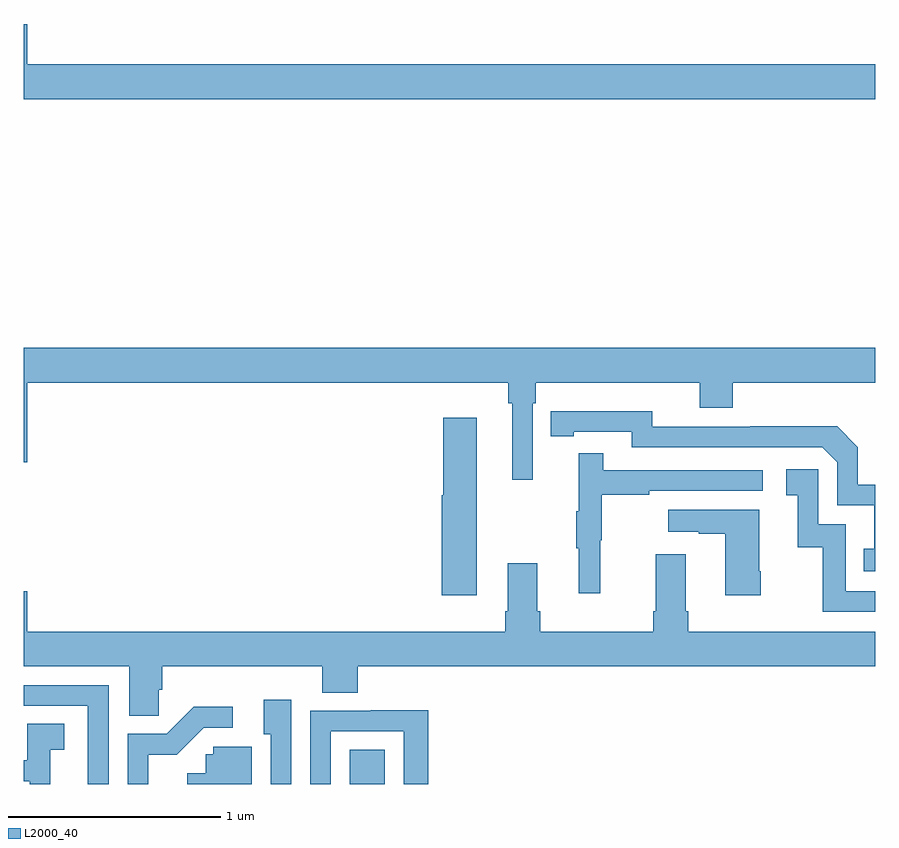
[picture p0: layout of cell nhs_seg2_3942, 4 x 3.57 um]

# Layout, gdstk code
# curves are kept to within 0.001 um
import gdstk
lib = gdstk.Library(unit=1e-6, precision=1e-09)
def R(c, l, rs):  # rectangles x0, y0, x1, y1
    for r in rs: c.add(gdstk.rectangle(r[:2], r[2:], *l))
def P(c, l, *ps):  # polygons
    for p in ps: c.add(gdstk.Polygon(p, *l))
L2000_40 = (2000, 40)

nhs_seg2_3942 = lib.new_cell('nhs_seg2_3942')
R(nhs_seg2_3942, L2000_40, [(322.532,597.8,322.696,597.962)])
P(nhs_seg2_3942, L2000_40, [(325,601.18),(321.016,601.18),(321.016,601.369),(321,601.369),(321,601.016),(325,601.016)],
  [(323.391,599.588),(323.405,599.588),(323.405,599.684),(324.176,599.684),(324.176,599.567),(324.329,599.567),(324.329,599.684),(325,599.684),(325,599.848),(321,599.848),(321,599.31),(321.016,599.31),(321.016,599.684),(323.275,599.684),(323.275,599.588),(323.294,599.588),(323.294,599.229),(323.391,599.229)],
  [(325,599.205),(324.918,599.205),(324.918,599.382),(324.82,599.48),(324.412,599.48),(324.412,599.478),(323.952,599.478),(323.952,599.551),(323.476,599.55),(323.476,599.434),(323.584,599.434),(323.584,599.454),(323.856,599.454),(323.856,599.382),(324.75,599.382),(324.822,599.31),(324.822,599.109),(324.995,599.109),(324.995,598.905),(324.946,598.905),(324.946,598.8),(325,598.8)],
  [(323.128,599.521),(322.97,599.521),(322.97,599.157),(322.964,599.157),(322.964,598.686),(323.128,598.686)],
  [(323.708,598.944),(323.716,598.944),(323.716,599.158),(323.939,599.158),(323.939,599.178),(324.472,599.178),(324.472,599.274),(323.723,599.274),(323.723,599.353),(323.606,599.353),(323.606,599.081),(323.595,599.081),(323.595,598.907),(323.606,598.907),(323.606,598.695),(323.708,598.695)],
  [(325,598.704),(324.861,598.704),(324.861,599.019),(324.732,599.019),(324.732,599.278),(324.582,599.278),(324.582,599.157),(324.635,599.157),(324.635,598.911),(324.753,598.911),(324.753,598.608),(325,598.608)],
  [(324.462,598.798),(324.454,598.798),(324.454,599.089),(324.027,599.089),(324.027,598.985),(324.17,598.985),(324.17,598.975),(324.296,598.975),(324.296,598.686),(324.462,598.686)],
  [(321.635,598.242),(321.65,598.242),(321.65,598.352),(322.403,598.352),(322.403,598.228),(322.568,598.228),(322.568,598.352),(325,598.352),(325,598.516),(324.122,598.516),(324.122,598.612),(324.109,598.612),(324.109,598.879),(323.969,598.879),(323.969,598.612),(323.957,598.612),(323.957,598.516),(323.426,598.516),(323.426,598.612),(323.413,598.612),(323.413,598.837),(323.273,598.837),(323.273,598.612),(323.261,598.612),(323.261,598.516),(321.016,598.516),(321.016,598.705),(321,598.705),(321,598.352),(321.497,598.352),(321.497,598.12),(321.635,598.12)],
  [(321.399,598.263),(321,598.263),(321,598.167),(321.302,598.167),(321.302,597.8),(321.399,597.8)],
  [(322.257,598.195),(322.127,598.195),(322.127,598.034),(322.161,598.034),(322.161,597.8),(322.257,597.8)],
  [(321.586,597.938),(321.719,597.938),(321.846,598.065),(321.982,598.065),(321.982,598.163),(321.8,598.163),(321.672,598.035),(321.489,598.035),(321.489,597.8),(321.586,597.8)],
  [(322.443,598.047),(322.785,598.047),(322.785,597.8),(322.901,597.8),(322.901,598.147),(322.631,598.147),(322.631,598.143),(322.347,598.143),(322.347,597.8),(322.443,597.8)],
  [(321.126,597.961),(321.19,597.961),(321.19,598.082),(321.018,598.082),(321.018,597.912),(321,597.912),(321,597.813),(321.03,597.813),(321.03,597.8),(321.126,597.8)],
  [(322.072,597.975),(321.891,597.975),(321.891,597.939),(321.855,597.939),(321.855,597.85),(321.768,597.85),(321.768,597.8),(322.072,597.8)])

lib.write_gds('nhs_seg2_3942.gds')
